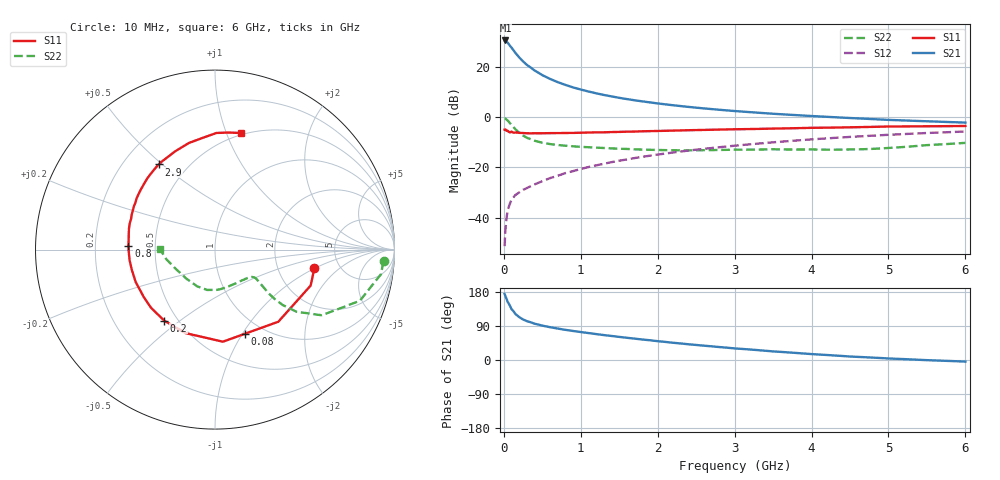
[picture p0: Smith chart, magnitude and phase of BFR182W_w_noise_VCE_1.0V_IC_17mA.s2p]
! Infineon Technologies  Discrete & RF Semiconductors
! BFR182W
! VCE =  1.0 V,  IC =  17 mA
! Common Emitter S-Parameters:  Jan 2017
# GHz  S  MA  R  50
!  f  S11  S21  S12  S22
! GHz  MAG  ANG  MAG  ANG  MAG  ANG  MAG  ANG
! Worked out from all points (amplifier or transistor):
!   77 points, 10 MHz to 6 GHz, reference 50 ohm
!   highest |S21| = 30.5 dB at 20 MHz (marker M1)
!   |S21| within 3 dB of that: start of sweep to 103.7 MHz
!   unconditionally stable (mu >= 1): 503.8 MHz to 2.972 GHz
!   at 130 MHz: K = 0.47, MSG = 29.1 dB, |S12| = -31.7 dB
!   at 2.2 GHz: K = 1.07, MAG = 7.8 dB, |S12| = -14.1 dB
!   at 6 GHz: K = 0.94, MSG = 1.8 dB, |S12| = -5.7 dB
!   lowest NFmin = 1.32 dB at 450 MHz
!   S11 on the Smith chart (normalised r, x): 10 MHz: 3.26, -0.98; 80 MHz: 0.82, -1.03; 200 MHz: 0.42, -0.44; 800 MHz: 0.35, +0.02; 2.9 GHz: 0.35, +0.49; 6 GHz: 0.48, +1.12
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0.01  0.5636 -10.5  33.49 174.3  0.0027 83.1  0.9412 -4.0
0.02  0.5693 -20.6  33.51 168.8  0.0056 86.9  0.9346 -8.5
0.05  0.5348 -48.7  30.32 153.3  0.0139 70.7  0.8558 -19.5
0.08  0.4976 -70.3  26.24 142.8  0.0191 64.0  0.7567 -26.2
0.1  0.515 -85.1  24.14 134.1  0.0227 61.3  0.6977 -31.6
0.15  0.4935 -109.6  19.03 121.6  0.0281 56.2  0.5721 -37.3
0.2  0.4864 -125.6  15.39 113.2  0.0317 55.6  0.4871 -39.3
0.25  0.4819 -137.6  12.83 106.9  0.0357 55.9  0.4287 -39.6
0.3  0.477 -146.1  10.93 102.5  0.0387 56.7  0.3876 -39.2
0.4  0.4774 -157.8  8.444 95.7  0.0457 59.1  0.3381 -37.7
0.5  0.477 -166.4  6.839 90.7  0.053 61.5  0.3088 -36.5
0.6  0.4796 -172.9  5.762 86.6  0.061 63.1  0.2906 -35.7
0.7  0.4803 -178.0  4.966 83.0  0.068 65.3  0.2786 -35.1
0.8  0.4827 177.3  4.375 79.6  0.0768 66.1  0.2692 -35.3
1.1  0.4935 166.2  3.231 71.1  0.1014 67.3  0.2515 -37.6
1.5  0.5074 154.4  2.418 61.0  0.1354 66.7  0.2348 -44.0
2.1  0.5339 139.7  1.794 47.7  0.1885 63.7  0.22 -59.6
2.9  0.5684 123.4  1.359 32.5  0.2603 57.6  0.2231 -84.3
3.1  0.5752 119.5  1.287 29.2  0.2784 55.8  0.2244 -90.0
4.1  0.6138 102.2  1.032 14.4  0.3687 46.1  0.2255 -119.6
5.1  0.6507 88.1  0.869 3.2  0.4517 35.3  0.2483 -156.9
6  0.665 77.6  0.777 -4.2  0.5166 25.4  0.307 179.5
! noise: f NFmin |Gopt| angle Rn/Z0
0.45  1.32  0.06  165  0.15
0.9  1.38  0.07  166  0.15
1.9  1.89  0.25  -146  0.15
2.4  2.15  0.25  -131  0.24
